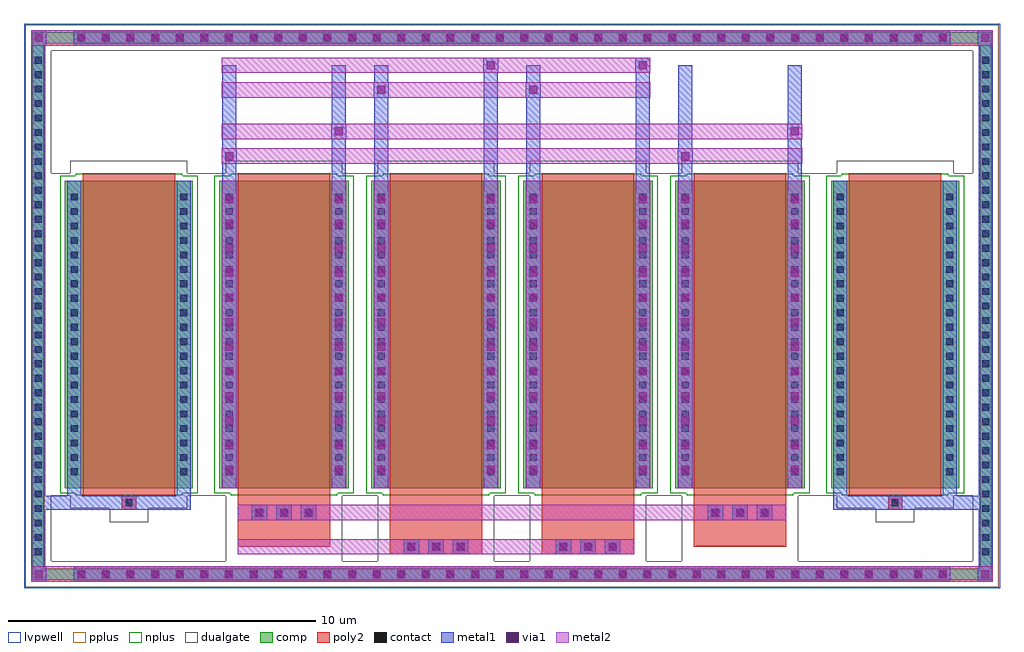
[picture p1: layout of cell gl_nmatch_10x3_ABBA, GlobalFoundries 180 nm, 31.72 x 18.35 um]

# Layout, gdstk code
import gdstk
lib = gdstk.Library(unit=1e-6, precision=1e-09)
def R(c, l, rs):  # rectangles x0, y0, x1, y1
    for r in rs: c.add(gdstk.rectangle(r[:2], r[2:], *l))
def A(c, l, x, y, w, h, nx, ny, dx, dy):  # array of equal rectangles
    R(c, l, [(x+i*dx, y+j*dy, x+i*dx+w, y+j*dy+h) for i in range(nx) for j in range(ny)])
comp = (22, 0)
poly2 = (30, 0)
pplus = (31, 0)
nplus = (32, 0)
contact = (33, 0)
metal1 = (34, 0)
via1 = (35, 0)
metal2 = (36, 0)
dualgate = (55, 0)
lvpwell = (204, 0)

gl_nmatch_10x3_abba = lib.new_cell('gl_nmatch_10x3_ABBA')
A(gl_nmatch_10x3_abba, comp, -9.51, -5.925, 4.2, 10, 4, 1, 4.94, 0)
R(gl_nmatch_10x3_abba, comp, [(-15.58,-8.895,15.58,-8.535), (-15.58,-8.535,-15.22,8.535), (15.22,-8.535,15.58,8.535), (-14.53,-5.925,-10.37,4.075), (10.37,-5.925,14.53,4.075), (-15.58,8.535,15.58,8.895)])
R(gl_nmatch_10x3_abba, poly2, [(-3.97,-8.075,-0.97,4.315), (0.97,-8.075,3.97,4.315), (-8.91,-7.825,-5.91,4.315), (5.91,-7.825,8.91,4.315), (-12.68,-6.625,-12.22,-6.165), (12.22,-6.625,12.68,-6.165), (-13.95,-6.165,-10.95,4.315), (10.95,-6.165,13.95,4.315)])
R(gl_nmatch_10x3_abba, pplus, [(-14.21,-8.925,14.21,-8.915), (-15.6,-8.915,15.6,-8.515), (-15.6,-8.515,-15.19,-8.21), (-14.21,-8.515,14.21,-8.505), (15.19,-8.515,15.6,-8.21), (-15.61,-8.21,-15.19,8.21), (15.19,-8.21,15.61,8.21), (-15.6,8.21,-15.19,8.515), (15.19,8.21,15.6,8.515), (-14.21,8.505,14.21,8.515), (-15.6,8.515,15.6,8.915), (-14.21,8.915,14.21,8.925)])
A(gl_nmatch_10x3_abba, nplus, -9.14, -6.155, 3.46, 0.07, 4, 2, 4.94, 10.39)
A(gl_nmatch_10x3_abba, nplus, -9.67, -6.085, 4.52, 10.32, 4, 1, 4.94, 0)
R(gl_nmatch_10x3_abba, nplus, [(-14.18,-6.155,-10.72,-6.085), (10.72,-6.155,14.18,-6.085), (-14.69,-6.085,-10.21,4.235), (10.21,-6.085,14.69,4.235), (-14.18,4.235,-10.72,4.305), (10.72,4.235,14.18,4.305)])
A(gl_nmatch_10x3_abba, contact, -14.11, -8.825, 0.22, 0.22, 36, 2, 0.8, 17.43)
A(gl_nmatch_10x3_abba, contact, -15.51, -8.1, 0.22, 0.22, 1, 35, 0, 0.47)
A(gl_nmatch_10x3_abba, contact, 15.29, -8.1, 0.22, 0.22, 1, 35, 0, 0.47)
A(gl_nmatch_10x3_abba, contact, -3.38, -7.935, 0.22, 0.22, 3, 1, 0.8, 0)
A(gl_nmatch_10x3_abba, contact, 1.56, -7.935, 0.22, 0.22, 3, 1, 0.8, 0)
A(gl_nmatch_10x3_abba, contact, -8.32, -6.825, 0.22, 0.22, 3, 1, 0.8, 0)
A(gl_nmatch_10x3_abba, contact, 6.5, -6.825, 0.22, 0.22, 3, 1, 0.8, 0)
A(gl_nmatch_10x3_abba, contact, -14.34, -5.5, 0.22, 0.22, 1, 20, 0, 0.47)
A(gl_nmatch_10x3_abba, contact, -10.78, -5.5, 0.22, 0.22, 1, 20, 0, 0.47)
A(gl_nmatch_10x3_abba, contact, -9.3, -5.5, 0.22, 0.22, 1, 20, 0, 0.47)
A(gl_nmatch_10x3_abba, contact, -5.74, -5.5, 0.22, 0.22, 1, 20, 0, 0.47)
A(gl_nmatch_10x3_abba, contact, -4.36, -5.5, 0.22, 0.22, 1, 20, 0, 0.47)
A(gl_nmatch_10x3_abba, contact, -0.8, -5.5, 0.22, 0.22, 1, 20, 0, 0.47)
A(gl_nmatch_10x3_abba, contact, 0.58, -5.5, 0.22, 0.22, 1, 20, 0, 0.47)
A(gl_nmatch_10x3_abba, contact, 4.14, -5.5, 0.22, 0.22, 1, 20, 0, 0.47)
A(gl_nmatch_10x3_abba, contact, 5.52, -5.5, 0.22, 0.22, 1, 20, 0, 0.47)
A(gl_nmatch_10x3_abba, contact, 9.08, -5.5, 0.22, 0.22, 1, 20, 0, 0.47)
A(gl_nmatch_10x3_abba, contact, 10.56, -5.5, 0.22, 0.22, 1, 20, 0, 0.47)
A(gl_nmatch_10x3_abba, contact, 14.12, -5.5, 0.22, 0.22, 1, 20, 0, 0.47)
R(gl_nmatch_10x3_abba, contact, [(-12.56,-6.505,-12.34,-6.285), (12.34,-6.505,12.56,-6.285)])
A(gl_nmatch_10x3_abba, metal1, -3.52, -8.075, 0.5, 0.5, 3, 1, 0.8, 0)
A(gl_nmatch_10x3_abba, metal1, 1.42, -8.075, 0.5, 0.5, 3, 1, 0.8, 0)
A(gl_nmatch_10x3_abba, metal1, -8.46, -6.965, 0.5, 0.5, 3, 1, 0.8, 0)
A(gl_nmatch_10x3_abba, metal1, 6.36, -6.965, 0.5, 0.5, 3, 1, 0.8, 0)
R(gl_nmatch_10x3_abba, metal1, [(-15.63,-8.965,-15.13,-8.465), (-14.25,-8.965,14.25,-8.465), (15.13,-8.965,15.63,-8.465), (-15.63,-8.465,-15.17,-6.625), (15.17,-8.465,15.63,-6.625), (-15.63,-6.625,-10.44,-6.165), (10.44,-6.625,15.63,-6.165), (-15.63,-6.165,-15.17,8.465), (-14.46,-6.165,-14,4.075), (-10.9,-6.165,-10.44,4.075), (10.44,-6.165,10.9,4.075), (14,-6.165,14.46,4.075), (15.17,-6.165,15.63,8.465), (-9.42,-5.925,-8.96,-5.575), (-5.86,-5.925,-5.4,-5.575), (-4.48,-5.925,-4.02,-5.575), (-0.92,-5.925,-0.46,-5.575), (0.46,-5.925,0.92,-5.575), (4.02,-5.925,4.48,-5.575), (5.4,-5.925,5.86,-5.575), (8.96,-5.925,9.42,-5.575), (-9.44,-5.575,-8.94,3.725), (-5.88,-5.575,-5.38,3.725), (-4.5,-5.575,-4,3.725), (-0.94,-5.575,-0.44,3.725), (0.44,-5.575,0.94,3.725), (4,-5.575,4.5,3.725), (5.38,-5.575,5.88,3.725), (8.94,-5.575,9.44,3.725), (-9.42,3.725,-8.96,4.625), (-5.86,3.725,-5.4,5.425), (-4.48,3.725,-4.02,6.775), (-0.92,3.725,-0.46,7.575), (0.46,3.725,0.92,6.775), (4.02,3.725,4.48,7.575), (5.4,3.725,5.86,4.625), (8.96,3.725,9.42,5.425), (-9.44,4.625,-8.94,5.125), (5.38,4.625,5.88,5.125), (-9.42,5.125,-8.96,7.825), (5.4,5.125,5.86,7.825), (-5.88,5.425,-5.38,5.925), (8.94,5.425,9.44,5.925), (-5.86,5.925,-5.4,7.825), (8.96,5.925,9.42,7.825), (-4.5,6.775,-4,7.275), (0.44,6.775,0.94,7.275), (-4.48,7.275,-4.02,7.825), (0.46,7.275,0.92,7.825), (-0.94,7.575,-0.44,8.075), (4,7.575,4.5,8.075), (-15.63,8.465,-15.13,8.965), (-14.25,8.465,14.25,8.965), (15.13,8.465,15.63,8.965)])
A(gl_nmatch_10x3_abba, via1, -14.13, -8.845, 0.26, 0.26, 36, 2, 0.8, 17.43)
A(gl_nmatch_10x3_abba, via1, -3.4, -7.955, 0.26, 0.26, 3, 1, 0.8, 0)
A(gl_nmatch_10x3_abba, via1, 1.54, -7.955, 0.26, 0.26, 3, 1, 0.8, 0)
A(gl_nmatch_10x3_abba, via1, -8.34, -6.845, 0.26, 0.26, 3, 1, 0.8, 0)
A(gl_nmatch_10x3_abba, via1, 6.48, -6.845, 0.26, 0.26, 3, 1, 0.8, 0)
A(gl_nmatch_10x3_abba, via1, -9.32, -5.455, 0.26, 0.26, 1, 12, 0, 0.8)
A(gl_nmatch_10x3_abba, via1, -5.76, -5.455, 0.26, 0.26, 1, 12, 0, 0.8)
A(gl_nmatch_10x3_abba, via1, -4.38, -5.455, 0.26, 0.26, 1, 12, 0, 0.8)
A(gl_nmatch_10x3_abba, via1, -0.82, -5.455, 0.26, 0.26, 1, 12, 0, 0.8)
A(gl_nmatch_10x3_abba, via1, 0.56, -5.455, 0.26, 0.26, 1, 12, 0, 0.8)
A(gl_nmatch_10x3_abba, via1, 4.12, -5.455, 0.26, 0.26, 1, 12, 0, 0.8)
A(gl_nmatch_10x3_abba, via1, 5.5, -5.455, 0.26, 0.26, 1, 12, 0, 0.8)
A(gl_nmatch_10x3_abba, via1, 9.06, -5.455, 0.26, 0.26, 1, 12, 0, 0.8)
R(gl_nmatch_10x3_abba, via1, [(-15.51,-8.845,-15.25,-8.585), (15.25,-8.845,15.51,-8.585), (-9.32,4.745,-9.06,5.005), (5.5,4.745,5.76,5.005), (-5.76,5.545,-5.5,5.805), (9.06,5.545,9.32,5.805), (-4.38,6.895,-4.12,7.155), (0.56,6.895,0.82,7.155), (-0.82,7.695,-0.56,7.955), (4.12,7.695,4.38,7.955), (-15.51,8.585,-15.25,8.845), (15.25,8.585,15.51,8.845)])
R(gl_nmatch_10x3_abba, metal2, [(-15.63,-8.965,15.63,-8.465), (-8.91,-8.075,3.97,-7.575), (-8.91,-6.965,8.91,-6.465), (-9.44,-5.925,-8.94,4.075), (-5.88,-5.925,-5.38,4.075), (-4.5,-5.925,-4,4.075), (-0.94,-5.925,-0.44,4.075), (0.44,-5.925,0.94,4.075), (4,-5.925,4.5,4.075), (5.38,-5.925,5.88,4.075), (8.94,-5.925,9.44,4.075), (-9.44,4.625,9.44,5.125), (-9.44,5.425,9.44,5.925), (-9.44,6.775,4.5,7.275), (-9.44,7.575,4.5,8.075), (-15.63,8.465,15.63,8.965)])
A(gl_nmatch_10x3_abba, dualgate, -9.31, -8.295, 3.8, 2.13, 4, 1, 4.94, 0)
A(gl_nmatch_10x3_abba, dualgate, -9.31, 4.315, 3.8, 0.4, 4, 1, 4.94, 0)
R(gl_nmatch_10x3_abba, dualgate, [(-15.82,-9.135,15.82,-8.295), (-15.82,-8.295,-14.98,-6.165), (14.98,-8.295,15.82,-6.165), (-13.08,-7.025,-11.82,-6.565), (11.82,-7.025,13.08,-6.565), (-14.35,-6.565,-10.55,-6.165), (10.55,-6.565,14.35,-6.165), (-15.82,-6.165,15.82,4.315), (-15.82,4.315,-14.98,8.295), (-14.35,4.315,-10.55,4.715), (10.55,4.315,14.35,4.715), (14.98,4.315,15.82,8.295), (-15.82,8.295,15.82,9.135)])
R(gl_nmatch_10x3_abba, lvpwell, [(-15.86,-9.175,15.86,9.175)])

lib.write_gds('gl_nmatch_10x3_ABBA.gds')
